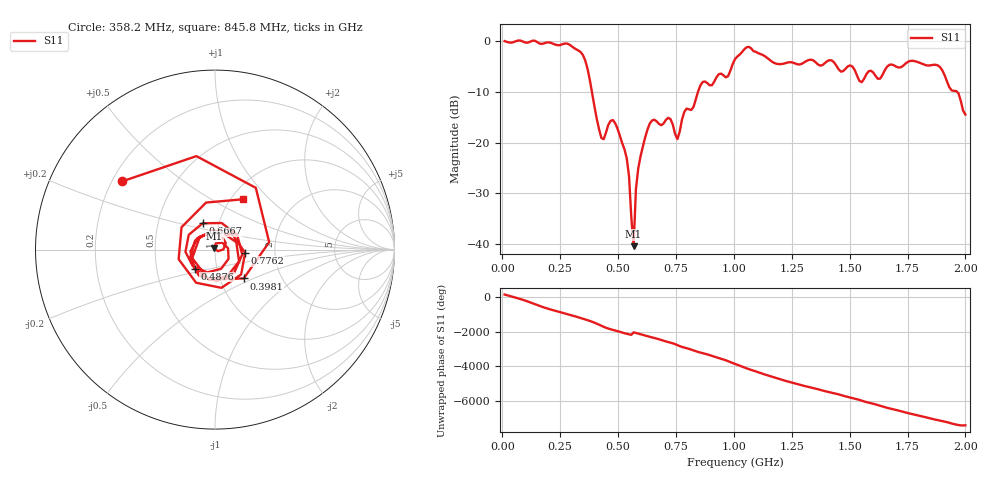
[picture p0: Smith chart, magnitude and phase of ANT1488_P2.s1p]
!Created with skrf (http://scikit-rf.org).
# Hz S RI R 50.0
!freq ReS11 ImS11
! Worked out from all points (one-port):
!   201 points, 10 MHz to 2 GHz, reference 50 ohm
!   lowest |S11| = -40.4 dB at 567.2 MHz (marker M1), VSWR 1.02, Z = 49.6 + j0.865 ohm
!   |S11| at or under -10 dB: 386.9 MHz to 845.2 MHz (458.3 MHz wide, 74.4 % of centre); 1.964 GHz to end of sweep
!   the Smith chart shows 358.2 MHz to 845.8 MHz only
!   S11 on the Smith chart (normalised r, x): 358.2 MHz: 0.24, +0.31; 398.1 MHz: 1.30, -0.44; 487.6 MHz: 0.78, -0.17; 666.7 MHz: 0.84, +0.25; 776.1 MHz: 1.40, -0.05; 845.8 MHz: 1.13, +0.71
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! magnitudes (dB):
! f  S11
! 10 MHz  0.0
! 258.8 MHz  -0.7
! 358.2 MHz  -3.8
! 398.1 MHz  -12.9
! 427.9 MHz  -19.1
! 487.6 MHz  -16.2
! 507.5 MHz  -18.6
! 547.3 MHz  -26.6
! 567.2 MHz  -40.4
! 577.1 MHz  -29.1
! 587.1 MHz  -25.1
! 636.9 MHz  -16.3
! 666.7 MHz  -15.8
! 726.4 MHz  -15.4
! 756.2 MHz  -19.3
! 776.1 MHz  -15.4
! 845.8 MHz  -9.9
! 975.1 MHz  -6.9
! 1.005 GHz  -3.6
! 1.065 GHz  -1.2
! 1.254 GHz  -4.2
! 1.502 GHz  -4.8
! 1.552 GHz  -8.1
! 1.582 GHz  -6.0
! 1.751 GHz  -4.1
! 1.891 GHz  -5.2
! 1.97 GHz  -10.3
! 2 GHz  -14.5
